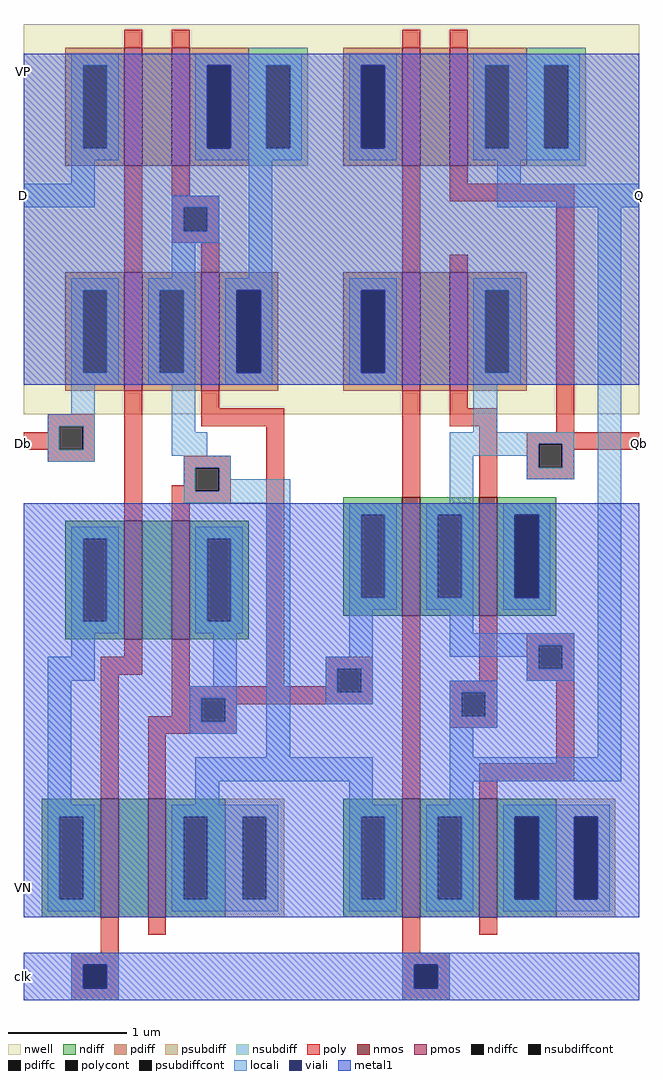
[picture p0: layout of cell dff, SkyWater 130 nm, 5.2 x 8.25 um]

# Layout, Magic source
magic
tech sky130A
<< nwell >>
rect -85 415 435 745
<< nmos >>
rect 0 225 15 325
rect 40 225 55 325
rect 235 245 250 345
rect 300 245 315 345
rect -20 -10 -5 90
rect 20 -10 35 90
rect 235 -10 250 90
rect 300 -10 315 90
<< pmos >>
rect 0 625 15 725
rect 40 625 55 725
rect 235 625 250 725
rect 275 625 290 725
rect 0 435 15 535
rect 65 435 80 535
rect 235 435 250 535
rect 275 435 290 535
<< ndiff >>
rect -50 310 0 325
rect -50 240 -35 310
rect -15 240 0 310
rect -50 225 0 240
rect 15 225 40 325
rect 55 310 105 325
rect 55 240 70 310
rect 90 240 105 310
rect 55 225 105 240
rect 185 330 235 345
rect 185 260 200 330
rect 220 260 235 330
rect 185 245 235 260
rect 250 330 300 345
rect 250 260 265 330
rect 285 260 300 330
rect 250 245 300 260
rect 315 330 365 345
rect 315 260 330 330
rect 350 260 365 330
rect 315 245 365 260
rect -70 75 -20 90
rect -70 5 -55 75
rect -35 5 -20 75
rect -70 -10 -20 5
rect -5 -10 20 90
rect 35 75 85 90
rect 35 5 50 75
rect 70 5 85 75
rect 35 -10 85 5
rect 185 75 235 90
rect 185 5 200 75
rect 220 5 235 75
rect 185 -10 235 5
rect 250 75 300 90
rect 250 5 265 75
rect 285 5 300 75
rect 250 -10 300 5
rect 315 75 365 90
rect 315 5 330 75
rect 350 5 365 75
rect 315 -10 365 5
<< pdiff >>
rect -50 710 0 725
rect -50 640 -35 710
rect -15 640 0 710
rect -50 625 0 640
rect 15 625 40 725
rect 55 710 105 725
rect 55 640 70 710
rect 90 640 105 710
rect 55 625 105 640
rect 185 710 235 725
rect 185 640 200 710
rect 220 640 235 710
rect 185 625 235 640
rect 250 625 275 725
rect 290 710 340 725
rect 290 640 305 710
rect 325 640 340 710
rect 290 625 340 640
rect -50 520 0 535
rect -50 450 -35 520
rect -15 450 0 520
rect -50 435 0 450
rect 15 520 65 535
rect 15 450 30 520
rect 50 450 65 520
rect 15 435 65 450
rect 80 520 130 535
rect 80 450 95 520
rect 115 450 130 520
rect 80 435 130 450
rect 185 520 235 535
rect 185 450 200 520
rect 220 450 235 520
rect 185 435 235 450
rect 250 435 275 535
rect 290 520 340 535
rect 290 450 305 520
rect 325 450 340 520
rect 290 435 340 450
<< ndiffc >>
rect -35 240 -15 310
rect 70 240 90 310
rect 200 260 220 330
rect 265 260 285 330
rect 330 260 350 330
rect -55 5 -35 75
rect 50 5 70 75
rect 200 5 220 75
rect 265 5 285 75
rect 330 5 350 75
<< pdiffc >>
rect -35 640 -15 710
rect 70 640 90 710
rect 200 640 220 710
rect 305 640 325 710
rect -35 450 -15 520
rect 30 450 50 520
rect 95 450 115 520
rect 200 450 220 520
rect 305 450 325 520
<< psubdiff >>
rect 85 75 135 90
rect 85 5 100 75
rect 120 5 135 75
rect 85 -10 135 5
rect 365 75 415 90
rect 365 5 380 75
rect 400 5 415 75
rect 365 -10 415 5
<< nsubdiff >>
rect 105 710 155 725
rect 105 640 120 710
rect 140 640 155 710
rect 105 625 155 640
rect 340 710 390 725
rect 340 640 355 710
rect 375 640 390 710
rect 340 625 390 640
<< psubdiffcont >>
rect 100 5 120 75
rect 380 5 400 75
<< nsubdiffcont >>
rect 120 640 140 710
rect 355 640 375 710
<< poly >>
rect 0 725 15 740
rect 40 725 55 740
rect 235 725 250 740
rect 275 725 290 740
rect 0 535 15 625
rect 40 600 55 625
rect 40 590 80 600
rect 40 570 50 590
rect 70 570 80 590
rect 40 560 80 570
rect 65 535 80 560
rect 235 535 250 625
rect 275 610 290 625
rect 275 595 380 610
rect 275 535 290 550
rect -65 405 -25 415
rect -65 400 -55 405
rect -85 385 -55 400
rect -35 385 -25 405
rect -65 375 -25 385
rect 0 325 15 435
rect 65 420 80 435
rect 65 405 135 420
rect 50 370 90 380
rect 50 355 60 370
rect 40 350 60 355
rect 80 350 90 370
rect 40 340 90 350
rect 40 325 55 340
rect 0 210 15 225
rect -20 195 15 210
rect -20 90 -5 195
rect 40 185 55 225
rect 120 185 135 405
rect 235 345 250 435
rect 275 420 290 435
rect 275 405 315 420
rect 300 345 315 405
rect 365 400 380 595
rect 340 390 435 400
rect 340 370 350 390
rect 370 385 435 390
rect 370 370 380 385
rect 340 360 380 370
rect 170 200 210 210
rect 170 185 180 200
rect 40 180 180 185
rect 200 180 210 200
rect 40 175 210 180
rect 40 160 65 175
rect 20 155 65 160
rect 85 170 210 175
rect 85 155 95 170
rect 20 145 95 155
rect 20 90 35 145
rect 235 90 250 245
rect 300 190 315 245
rect 340 220 380 230
rect 340 200 350 220
rect 370 200 380 220
rect 340 190 380 200
rect 275 180 315 190
rect 275 160 285 180
rect 305 160 315 180
rect 275 150 315 160
rect 365 120 380 190
rect 300 105 380 120
rect 300 90 315 105
rect -20 -40 -5 -10
rect 20 -25 35 -10
rect -45 -50 -5 -40
rect -45 -70 -35 -50
rect -15 -70 -5 -50
rect -45 -80 -5 -70
rect 235 -40 250 -10
rect 300 -25 315 -10
rect 235 -50 275 -40
rect 235 -70 245 -50
rect 265 -70 275 -50
rect 235 -80 275 -70
<< polycont >>
rect 50 570 70 590
rect -55 385 -35 405
rect 60 350 80 370
rect 350 370 370 390
rect 180 180 200 200
rect 65 155 85 175
rect 350 200 370 220
rect 285 160 305 180
rect -35 -70 -15 -50
rect 245 -70 265 -50
<< locali >>
rect -45 710 -5 720
rect -45 640 -35 710
rect -15 640 -5 710
rect -45 630 -5 640
rect 60 710 150 720
rect 60 640 70 710
rect 90 640 120 710
rect 140 640 150 710
rect 60 630 150 640
rect 190 710 230 720
rect 190 640 200 710
rect 220 640 230 710
rect 190 630 230 640
rect 295 710 385 720
rect 295 640 305 710
rect 325 640 355 710
rect 375 640 385 710
rect 295 630 385 640
rect -45 610 -25 630
rect -85 590 -25 610
rect 40 590 80 600
rect 40 570 50 590
rect 70 570 80 590
rect 40 560 80 570
rect 40 530 60 560
rect 105 530 125 630
rect 315 610 335 630
rect 315 590 435 610
rect -45 520 -5 530
rect -45 450 -35 520
rect -15 450 -5 520
rect -45 440 -5 450
rect 20 520 60 530
rect 20 450 30 520
rect 50 450 60 520
rect 20 440 60 450
rect 85 520 125 530
rect 85 450 95 520
rect 115 450 125 520
rect 85 440 125 450
rect 190 520 230 530
rect 190 450 200 520
rect 220 450 230 520
rect 190 440 230 450
rect 295 520 335 530
rect 295 450 305 520
rect 325 450 335 520
rect 295 440 335 450
rect -45 415 -25 440
rect -65 405 -25 415
rect -65 385 -55 405
rect -35 385 -25 405
rect -65 375 -25 385
rect 40 400 60 440
rect 295 400 315 440
rect 40 380 70 400
rect 275 390 380 400
rect 275 380 350 390
rect 50 370 90 380
rect 50 350 60 370
rect 80 360 90 370
rect 80 350 140 360
rect 50 340 140 350
rect 275 340 295 380
rect 340 370 350 380
rect 370 370 380 390
rect 340 360 380 370
rect -45 310 -5 320
rect -45 240 -35 310
rect -15 240 -5 310
rect -45 230 -5 240
rect 60 310 100 320
rect 60 240 70 310
rect 90 240 100 310
rect 60 230 100 240
rect -45 210 -25 230
rect -65 190 -25 210
rect -65 85 -45 190
rect 75 185 95 230
rect 55 175 95 185
rect 55 155 65 175
rect 85 155 95 175
rect 55 145 95 155
rect 120 125 140 340
rect 190 330 230 340
rect 190 260 200 330
rect 220 260 230 330
rect 190 250 230 260
rect 255 330 295 340
rect 255 260 265 330
rect 285 260 295 330
rect 255 250 295 260
rect 320 330 360 340
rect 320 260 330 330
rect 350 260 360 330
rect 320 250 360 260
rect 190 210 210 250
rect 275 230 295 250
rect 275 220 380 230
rect 275 210 350 220
rect 170 200 210 210
rect 170 180 180 200
rect 200 180 210 200
rect 340 200 350 210
rect 370 200 380 220
rect 340 190 380 200
rect 170 170 210 180
rect 275 180 315 190
rect 275 160 285 180
rect 305 160 315 180
rect 275 150 315 160
rect 275 125 295 150
rect 400 125 420 590
rect 60 105 210 125
rect 60 85 80 105
rect 190 85 210 105
rect 275 105 420 125
rect 275 85 295 105
rect -65 75 -25 85
rect -65 5 -55 75
rect -35 5 -25 75
rect -65 -5 -25 5
rect 40 75 130 85
rect 40 5 50 75
rect 70 5 100 75
rect 120 5 130 75
rect 40 -5 130 5
rect 190 75 230 85
rect 190 5 200 75
rect 220 5 230 75
rect 190 -5 230 5
rect 255 75 295 85
rect 255 5 265 75
rect 285 5 295 75
rect 255 -5 295 5
rect 320 75 410 85
rect 320 5 330 75
rect 350 5 380 75
rect 400 5 410 75
rect 320 -5 410 5
rect -45 -50 -5 -40
rect -45 -70 -35 -50
rect -15 -70 -5 -50
rect -45 -80 -5 -70
rect 235 -50 275 -40
rect 235 -70 245 -50
rect 265 -70 275 -50
rect 235 -80 275 -70
<< viali >>
rect 70 640 90 710
rect 200 640 220 710
rect 95 450 115 520
rect 200 450 220 520
rect 330 260 350 330
rect 330 5 350 75
rect 380 5 400 75
rect -35 -70 -15 -50
rect 245 -70 265 -50
<< metal1 >>
rect -85 710 435 720
rect -85 640 70 710
rect 90 640 200 710
rect 220 640 435 710
rect -85 520 435 640
rect -85 450 95 520
rect 115 450 200 520
rect 220 450 435 520
rect -85 440 435 450
rect -85 330 435 340
rect -85 260 330 330
rect 350 260 435 330
rect -85 75 435 260
rect -85 5 330 75
rect 350 5 380 75
rect 400 5 435 75
rect -85 -10 435 5
rect -85 -50 435 -40
rect -85 -70 -35 -50
rect -15 -70 245 -50
rect 265 -70 435 -50
rect -85 -80 435 -70
<< labels >>
rlabel locali -85 600 -85 600 7 D
port 1 w
rlabel poly -85 390 -85 390 7 Db
port 2 w
rlabel metal1 -85 705 -85 705 7 VP
port 3 w
rlabel metal1 -85 15 -85 15 7 VN
port 4 w
rlabel metal1 -85 -60 -85 -60 7 clk
port 5 w
rlabel locali 435 600 435 600 3 Q
port 6 e
rlabel poly 435 390 435 390 3 Qb
port 7 e
<< end >>
